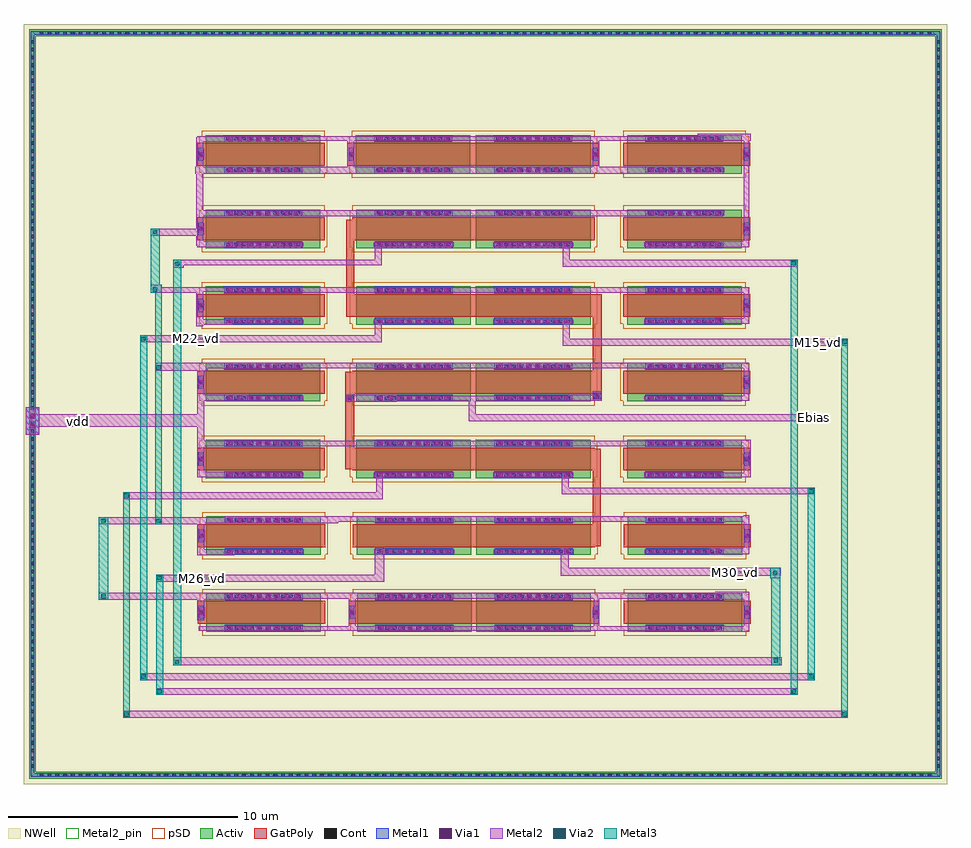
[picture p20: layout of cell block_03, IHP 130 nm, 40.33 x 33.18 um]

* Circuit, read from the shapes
.subckt block_03 Ebias M15_vd M22_vd M26_vd M30_vd vdd
XM1 vdd vdd vdd vdd sg13_lv_pmos w=5u l=1u m=18
XM2 vdd Ebias M15_vd vdd sg13_lv_pmos w=5u l=1u m=2
XM3 vdd Ebias Ebias vdd sg13_lv_pmos w=5u l=1u m=2
XM4 vdd Ebias M22_vd vdd sg13_lv_pmos w=5u l=1u m=2
XM5 vdd Ebias M30_vd vdd sg13_lv_pmos w=5u l=1u m=2
XM6 vdd Ebias M26_vd vdd sg13_lv_pmos w=5u l=1u m=2
.ends

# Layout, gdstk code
from math import pi, radians
import gdstk
lib = gdstk.Library(unit=1e-6, precision=1e-09)
def R(c, l, rs):  # rectangles x0, y0, x1, y1
    for r in rs: c.add(gdstk.rectangle(r[:2], r[2:], *l))
def A(c, l, x, y, w, h, nx, ny, dx, dy):  # array of equal rectangles
    R(c, l, [(x+i*dx, y+j*dy, x+i*dx+w, y+j*dy+h) for i in range(nx) for j in range(ny)])
Activ = (1, 0)
GatPoly = (5, 0)
Cont = (6, 0)
Metal1 = (8, 0)
Metal2 = (10, 0)
Metal2_pin = (10, 2)
pSD = (14, 0)
Via1 = (19, 0)
Via2 = (29, 0)
Metal3 = (30, 0)
NWell = (31, 0)

sg13_lv_pmos_3zeyzd = lib.new_cell('sg13_lv_pmos_3ZEYZD')
R(sg13_lv_pmos_3zeyzd, Activ, [(-0.84,-2.405,0.84,2.595)])
R(sg13_lv_pmos_3zeyzd, GatPoly, [(-0.5,-2.775,0.5,2.775)])
A(sg13_lv_pmos_3zeyzd, Cont, -0.77, -1.515, 0.16, 0.16, 1, 10, 0, 0.34)
A(sg13_lv_pmos_3zeyzd, Cont, 0.61, -1.515, 0.16, 0.16, 1, 10, 0, 0.34)
R(sg13_lv_pmos_3zeyzd, Cont, [(-0.08,-2.705,0.08,-2.545)])
R(sg13_lv_pmos_3zeyzd, Metal1, [(-0.285,-2.73,0.285,-2.52), (-0.84,-1.61,-0.54,1.8), (0.54,-1.61,0.84,1.8)])
R(sg13_lv_pmos_3zeyzd, Metal2, [(-0.235,-2.77,0.235,-2.48), (-0.79,-1.65,-0.59,1.84), (0.59,-1.65,0.79,1.84)])
R(sg13_lv_pmos_3zeyzd, pSD, [(-0.8,-2.705,0.8,-2.585), (-1.02,-2.585,1.02,2.775), (-0.8,2.775,0.8,2.895)])
A(sg13_lv_pmos_3zeyzd, Via1, -0.785, -1.435, 0.19, 0.19, 1, 8, 0, 0.41)
A(sg13_lv_pmos_3zeyzd, Via1, 0.595, -1.435, 0.19, 0.19, 1, 8, 0, 0.41)
R(sg13_lv_pmos_3zeyzd, Via1, [(-0.095,-2.72,0.095,-2.53)])
R(sg13_lv_pmos_3zeyzd, NWell, [(-1.15,-2.715,1.15,2.905)])
sg13_lv_pmos_3zeyzd.add(gdstk.Label('D', (-0.69,0.095), layer=8, texttype=25))
sg13_lv_pmos_3zeyzd.add(gdstk.Label('S', (0.69,0.095), layer=8, texttype=25))
sg13_lv_pmos_3zeyzd.add(gdstk.Label('G', (0,-2.625), layer=8, texttype=25))

sg13_lv_pmos_3zwszd = lib.new_cell('sg13_lv_pmos_3ZWSZD')
R(sg13_lv_pmos_3zwszd, Activ, [(-0.84,-2.5,0.84,2.5)])
R(sg13_lv_pmos_3zwszd, GatPoly, [(-0.5,-2.68,0.5,2.68)])
A(sg13_lv_pmos_3zwszd, Cont, -0.77, -1.61, 0.16, 0.16, 1, 10, 0, 0.34)
A(sg13_lv_pmos_3zwszd, Cont, 0.61, -1.61, 0.16, 0.16, 1, 10, 0, 0.34)
R(sg13_lv_pmos_3zwszd, Metal1, [(-0.84,-1.705,-0.54,1.705), (0.54,-1.705,0.84,1.705)])
R(sg13_lv_pmos_3zwszd, Metal2, [(-0.79,-1.745,-0.59,1.745), (0.59,-1.745,0.79,1.745)])
R(sg13_lv_pmos_3zwszd, pSD, [(-0.8,-2.8,0.8,-2.68), (-1.02,-2.68,1.02,2.68), (-0.8,2.68,0.8,2.8)])
A(sg13_lv_pmos_3zwszd, Via1, -0.785, -1.53, 0.19, 0.19, 1, 8, 0, 0.41)
A(sg13_lv_pmos_3zwszd, Via1, 0.595, -1.53, 0.19, 0.19, 1, 8, 0, 0.41)
R(sg13_lv_pmos_3zwszd, NWell, [(-1.15,-2.81,1.15,2.81)])
sg13_lv_pmos_3zwszd.add(gdstk.Label('D', (-0.69,0), layer=8, texttype=25))
sg13_lv_pmos_3zwszd.add(gdstk.Label('S', (0.69,0), layer=8, texttype=25))

sg13_lv_pmos_3zwj4e = lib.new_cell('sg13_lv_pmos_3ZWJ4E')
R(sg13_lv_pmos_3zwj4e, Activ, [(-0.84,-2.595,0.84,2.405)])
R(sg13_lv_pmos_3zwj4e, GatPoly, [(-0.5,-2.775,0.5,2.775)])
A(sg13_lv_pmos_3zwj4e, Cont, -0.77, -1.705, 0.16, 0.16, 1, 10, 0, 0.34)
A(sg13_lv_pmos_3zwj4e, Cont, 0.61, -1.705, 0.16, 0.16, 1, 10, 0, 0.34)
R(sg13_lv_pmos_3zwj4e, Cont, [(-0.08,2.545,0.08,2.705)])
R(sg13_lv_pmos_3zwj4e, Metal1, [(-0.84,-1.8,-0.54,1.61), (0.54,-1.8,0.84,1.61), (-0.285,2.52,0.285,2.73)])
R(sg13_lv_pmos_3zwj4e, Metal2, [(-0.79,-1.84,-0.59,1.65), (0.59,-1.84,0.79,1.65), (-0.235,2.48,0.235,2.77)])
R(sg13_lv_pmos_3zwj4e, pSD, [(-0.8,-2.895,0.8,-2.775), (-1.02,-2.775,1.02,2.585), (-0.8,2.585,0.8,2.705)])
A(sg13_lv_pmos_3zwj4e, Via1, -0.785, -1.625, 0.19, 0.19, 1, 8, 0, 0.41)
A(sg13_lv_pmos_3zwj4e, Via1, 0.595, -1.625, 0.19, 0.19, 1, 8, 0, 0.41)
R(sg13_lv_pmos_3zwj4e, Via1, [(-0.095,2.53,0.095,2.72)])
R(sg13_lv_pmos_3zwj4e, NWell, [(-1.15,-2.905,1.15,2.715)])
sg13_lv_pmos_3zwj4e.add(gdstk.Label('D', (-0.69,-0.095), layer=8, texttype=25))
sg13_lv_pmos_3zwj4e.add(gdstk.Label('S', (0.69,-0.095), layer=8, texttype=25))
sg13_lv_pmos_3zwj4e.add(gdstk.Label('G', (0,2.625), layer=8, texttype=25))

block_03 = lib.new_cell('block_03')
R(block_03, Activ, [(-17.8,-16.45,22.05,-16.15), (-17.8,-16.15,-17.5,15.95), (21.75,-16.15,22.05,15.95), (-17.8,15.95,22.05,16.25)])
R(block_03, GatPoly, [(6.8,-6.3,7.15,-2.05), (-4,-2.95,-3.6,1.3), (6.8,0.05,7.2,4.7), (-3.95,3.7,-3.6,7.95)])
A(block_03, Cont, -17.335, -16.38, 0.16, 0.16, 115, 2, 0.34, 32.4)
A(block_03, Cont, -17.73, -15.99, 0.16, 0.16, 1, 94, 0, 0.34)
A(block_03, Cont, 21.82, -15.99, 0.16, 0.16, 1, 94, 0, 0.34)
R(block_03, Cont, [(-3.88,0.07,-3.72,0.23), (6.92,0.17,7.08,0.33)])
R(block_03, Metal1, [(-17.73,-16.38,21.98,-16.22), (-17.73,-16.22,-17.57,-1.45), (21.82,-16.22,21.98,16.02), (-17.95,-1.45,-17.35,-0.25), (-17.73,-0.25,-17.57,16.02), (-3.95,0,-3.65,0.3), (6.85,0.1,7.15,0.4), (-17.73,16.02,21.98,16.18)])
R(block_03, Metal2, [(-13.7,-13.8,17.95,-13.5), (-12.25,-12.8,15.75,-12.5), (-12.95,-12.15,16.5,-11.85), (-11.5,-11.5,15.05,-11.15), (12.15,-10.05,13.65,-10), (-10.4,-10,13.65,-9.8), (-3.85,-9.8,-3.55,-8.6), (6.85,-9.8,7.1,-8.6), (13.4,-9.8,13.65,-8.65), (-10.45,-9.55,-10.15,-8.65), (-14.75,-8.65,-9.05,-8.6), (12.15,-8.65,13.65,-8.6), (-14.75,-8.6,13.65,-8.35), (12.15,-8.35,13.65,-8.3), (-12.25,-7.85,-2.3,-7.55), (14.55,-7.7,15,-7.6), (5.4,-7.6,15.025,-7.25), (-2.7,-7.55,-2.3,-6.35), (5.4,-7.25,5.75,-6.4), (-10.45,-6.7,-8.85,-6.45), (11.9,-6.65,13.65,-6.4), (-10.45,-6.45,-10.15,-5.35), (13.4,-6.4,13.65,-5.25), (-14.75,-5.35,-10.1,-5.3), (-14.75,-5.3,-4.3,-5.25), (-14.75,-5.25,13.65,-5.05), (-9.25,-5.05,13.65,-5), (13.4,-5,13.65,-4.95), (-13.7,-4.25,-2.35,-3.95), (5.45,-4.05,5.75,-4.045), (16.15,-4.05,16.5,-4.045), (5.45,-4.045,16.5,-3.75), (-2.65,-3.95,-2.35,-3.1), (5.45,-3.75,5.75,-3.1), (-10.45,-3.3,-8.2,-3.05), (12.25,-3.3,13.7,-3.1), (13.4,-3.1,13.7,-1.95), (-10.45,-3.05,-10.15,-1.95), (-10.45,-1.95,13.7,-1.7), (-10.45,-1.7,-10.15,-1.1), (12.2,-1.7,13.7,-1.65), (-17.95,-1.45,-17.35,-1.1), (-17.95,-1.1,-10.15,-0.55), (1.4,-0.85,16.8,-0.55), (-17.95,-0.55,-17.35,-0.25), (-10.45,-0.55,-10.15,0.05), (1.4,-0.55,1.7,0.05), (-3.95,0,-1.75,0.3), (-10.45,0.05,-8.2,0.3), (-0.1,0.05,3.6,0.25), (5.75,0.05,7.2,0.3), (12.15,0.05,13.65,0.25), (13.4,0.25,13.65,1.45), (-10.45,0.3,-10.15,1.35), (6.8,0.3,7.2,0.45), (-12.3,1.35,-10,1.45), (-12.3,1.45,13.65,1.7), (5.5,2.45,17.95,2.75), (-12.95,2.6,-2.4,2.9), (5.5,2.75,5.8,3.6), (-2.7,2.9,-2.4,3.6), (-10.5,3.3,-10.2,3.35), (-10.5,3.35,-8.95,3.6), (12.15,3.4,13.65,3.65), (-10.5,3.6,-10.2,4.75), (13.4,3.65,13.65,4.75), (-12.5,4.75,-10.2,4.8), (-9.3,4.75,13.65,4.8), (-12.5,4.8,13.65,5), (-12.5,5,-12,5.1), (-11.5,5.85,-11.05,5.95), (5.5,5.9,15.75,6.2), (-11.5,5.95,-2.4,6.2), (-2.7,6.2,-2.4,6.95), (5.5,6.2,5.8,6.95), (-10.45,6.75,-8.75,6.8), (12.15,6.75,13.65,7), (-10.5,6.8,-8.75,7), (-10.5,7,-10.2,7.25), (13.4,7,13.65,11.4), (-12.5,7.25,-10.2,7.55), (-10.5,7.55,-10.2,8.1), (-10.5,8.1,12.5,8.35), (-10.5,8.35,-10.2,9.95), (-10.55,9.95,12.5,10.25), (-10.5,10.25,-10.2,11.35), (-3.9,10.25,-3.6,11.4), (6.8,10.25,7.1,11.4), (-10.5,11.35,-5.7,11.4), (-10.5,11.4,13.7,11.55), (-10.45,11.55,13.7,11.6), (11.4,11.6,13.7,11.7)])
R(block_03, Metal2_pin, [(-10.5,-7.75,-9.95,-7.65), (12.75,-7.5,13.3,-7.4), (-16.1,-1,-15.2,-0.75), (16.2,-0.8,16.7,-0.6), (16.45,2.55,16.9,2.65), (-10.75,2.7,-10.2,2.8)])
R(block_03, Via1, [(-17.745,-1.15,-17.555,-0.96), (-17.745,-0.74,-17.555,-0.55), (-3.895,0.055,-3.705,0.245), (6.905,0.155,7.095,0.345)])
R(block_03, Via2, [(-13.645,-13.745,-13.455,-13.555), (17.705,-13.745,17.895,-13.555), (-12.195,-12.745,-12.005,-12.555), (15.505,-12.745,15.695,-12.555), (-12.895,-12.095,-12.705,-11.905), (16.255,-12.095,16.445,-11.905), (-11.445,-11.445,-11.255,-11.255), (14.705,-11.395,14.895,-11.205), (-14.645,-8.595,-14.455,-8.405), (-12.195,-7.795,-12.005,-7.605), (14.68,-7.57,14.87,-7.38), (-14.645,-5.295,-14.455,-5.105), (-12.245,-5.295,-12.055,-5.105), (-13.645,-4.195,-13.455,-4.005), (16.255,-3.995,16.445,-3.805), (-12.245,1.405,-12.055,1.595), (17.705,2.505,17.895,2.695), (-12.895,2.655,-12.705,2.845), (-12.395,4.805,-12.205,4.995), (-11.42,5.93,-11.23,6.12), (15.505,5.955,15.695,6.145), (-12.395,7.305,-12.205,7.495)])
R(block_03, Metal3, [(-13.7,-13.8,-13.4,-3.95), (17.65,-13.8,17.95,2.75), (-12.25,-12.8,-11.95,-7.55), (15.45,-12.8,15.75,6.2), (-12.95,-12.15,-12.65,2.9), (16.2,-12.15,16.5,-3.75), (-11.5,-11.5,-11.15,6.2), (14.6,-11.5,15,-7.7), (-14.75,-8.65,-14.35,-5.05), (14.55,-7.7,15,-7.25), (-12.3,-5.35,-12,4.75), (-12.5,4.75,-12,5.1), (-12.5,5.1,-12.1,7.55)])
R(block_03, NWell, [(-18.04,-16.69,22.29,16.49)])
block_03.add(gdstk.Reference(sg13_lv_pmos_3zeyzd, (-7.655,-9.2), rotation=3*pi/2))
block_03.add(gdstk.Reference(sg13_lv_pmos_3zeyzd, (-7.655,-5.85), rotation=3*pi/2))
block_03.add(gdstk.Reference(sg13_lv_pmos_3zwszd, (-0.99,-5.85), rotation=3*pi/2))
block_03.add(gdstk.Reference(sg13_lv_pmos_3zeyzd, (-1.075,-9.2), rotation=3*pi/2))
block_03.add(gdstk.Reference(sg13_lv_pmos_3zwszd, (4.23,-5.85), rotation=3*pi/2))
block_03.add(gdstk.Reference(sg13_lv_pmos_3zwj4e, (4.325,-9.2), rotation=3*pi/2))
block_03.add(gdstk.Reference(sg13_lv_pmos_3zwj4e, (10.925,-9.2), rotation=3*pi/2))
block_03.add(gdstk.Reference(sg13_lv_pmos_3zwj4e, (10.925,-5.85), rotation=3*pi/2))
block_03.add(gdstk.Reference(sg13_lv_pmos_3zeyzd, (-7.675,-2.5), rotation=3*pi/2))
block_03.add(gdstk.Reference(sg13_lv_pmos_3zwszd, (-1.01,-2.5), rotation=3*pi/2))
block_03.add(gdstk.Reference(sg13_lv_pmos_3zwszd, (4.21,-2.5), rotation=3*pi/2))
block_03.add(gdstk.Reference(sg13_lv_pmos_3zwj4e, (10.905,-2.5), rotation=3*pi/2))
block_03.add(gdstk.Reference(sg13_lv_pmos_3zeyzd, (-7.675,0.85), rotation=3*pi/2))
block_03.add(gdstk.Reference(sg13_lv_pmos_3zwszd, (-1.01,0.85), rotation=3*pi/2))
block_03.add(gdstk.Reference(sg13_lv_pmos_3zwszd, (4.21,0.85), rotation=3*pi/2))
block_03.add(gdstk.Reference(sg13_lv_pmos_3zwj4e, (10.905,0.85), rotation=3*pi/2))
block_03.add(gdstk.Reference(sg13_lv_pmos_3zeyzd, (-7.675,4.2), rotation=3*pi/2))
block_03.add(gdstk.Reference(sg13_lv_pmos_3zeyzd, (-7.675,7.55), rotation=3*pi/2))
block_03.add(gdstk.Reference(sg13_lv_pmos_3zwszd, (-1.01,4.2), rotation=3*pi/2))
block_03.add(gdstk.Reference(sg13_lv_pmos_3zwszd, (-1.01,7.55), rotation=3*pi/2))
block_03.add(gdstk.Reference(sg13_lv_pmos_3zwszd, (4.21,4.2), rotation=3*pi/2))
block_03.add(gdstk.Reference(sg13_lv_pmos_3zwszd, (4.21,7.55), rotation=3*pi/2))
block_03.add(gdstk.Reference(sg13_lv_pmos_3zwj4e, (10.905,4.2), rotation=3*pi/2))
block_03.add(gdstk.Reference(sg13_lv_pmos_3zwj4e, (10.905,7.55), rotation=3*pi/2))
block_03.add(gdstk.Reference(sg13_lv_pmos_3zeyzd, (-7.675,10.8), rotation=3*pi/2))
block_03.add(gdstk.Reference(sg13_lv_pmos_3zeyzd, (-1.125,10.8), rotation=3*pi/2))
block_03.add(gdstk.Reference(sg13_lv_pmos_3zwj4e, (4.305,10.8), rotation=3*pi/2))
block_03.add(gdstk.Reference(sg13_lv_pmos_3zwj4e, (10.905,10.8), rotation=3*pi/2))
block_03.add(gdstk.Label('Ebias', (16.45,-0.7), layer=10, texttype=25))
block_03.add(gdstk.Label('vdd', (-15.65,-0.875), layer=10, texttype=25))
block_03.add(gdstk.Label('M15_vd', (16.675,2.6), layer=10, texttype=25))
block_03.add(gdstk.Label('M22_vd', (-10.475,2.75), layer=10, texttype=25))
block_03.add(gdstk.Label('M26_vd', (-10.225,-7.7), layer=10, texttype=25))
block_03.add(gdstk.Label('M30_vd', (13.025,-7.45), layer=10, texttype=25))

lib.write_gds('block_03.gds')
